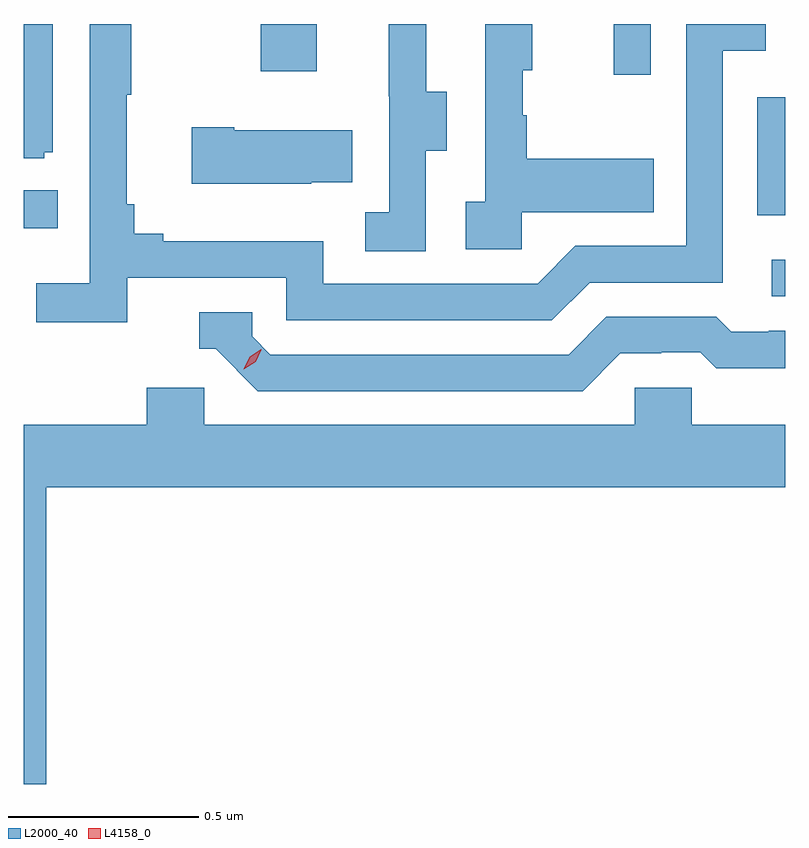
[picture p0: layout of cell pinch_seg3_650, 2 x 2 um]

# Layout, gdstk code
import gdstk
lib = gdstk.Library(unit=1e-6, precision=1e-09)
def R(c, l, rs):  # rectangles x0, y0, x1, y1
    for r in rs: c.add(gdstk.rectangle(r[:2], r[2:], *l))
def P(c, l, *ps):  # polygons
    for p in ps: c.add(gdstk.Polygon(p, *l))
L2000_40 = (2000, 40)
L4158_0 = (4158, 0)

pinch_seg3_650 = lib.new_cell('pinch_seg3_650')
R(pinch_seg3_650, L2000_40, [(1021.425,677.442,1021.46,677.538), (1019.46,677.621,1019.549,677.72), (1021.386,677.655,1021.46,677.964), (1021.01,678.024,1021.107,678.157), (1020.082,678.033,1020.229,678.157)])
P(pinch_seg3_650, L2000_40, [(1019.732,677.49),(1020.15,677.49),(1020.15,677.379),(1020.847,677.379),(1020.946,677.478),(1021.296,677.478),(1021.296,678.087),(1021.409,678.087),(1021.409,678.157),(1021.2,678.157),(1021.2,677.574),(1020.909,677.574),(1020.81,677.475),(1020.246,677.475),(1020.246,677.587),(1019.827,677.587),(1019.827,677.606),(1019.75,677.606),(1019.75,677.683),(1019.731,677.683),(1019.731,677.971),(1019.743,677.971),(1019.743,678.157),(1019.634,678.157),(1019.634,677.476),(1019.493,677.476),(1019.493,677.374),(1019.732,677.374)],
  [(1020.516,677.824),(1020.571,677.824),(1020.571,677.979),(1020.517,677.979),(1020.517,678.157),(1020.419,678.157),(1020.419,677.967),(1020.42,677.967),(1020.42,677.663),(1020.357,677.663),(1020.357,677.56),(1020.516,677.56)],
  [(1020.768,677.663),(1021.115,677.663),(1021.115,677.803),(1020.781,677.803),(1020.781,677.918),(1020.771,677.918),(1020.771,678.036),(1020.796,678.036),(1020.796,678.157),(1020.672,678.157),(1020.672,677.69),(1020.621,677.69),(1020.621,677.565),(1020.768,677.565)],
  [(1019.514,677.82),(1019.536,677.82),(1019.536,678.157),(1019.46,678.157),(1019.46,677.805),(1019.514,677.805)],
  [(1020.215,677.741),(1020.323,677.741),(1020.323,677.878),(1020.013,677.878),(1020.013,677.886),(1019.901,677.886),(1019.901,677.738),(1020.215,677.738)],
  [(1021.027,677.292),(1021.134,677.292),(1021.134,677.295),(1021.237,677.295),(1021.279,677.253),(1021.46,677.253),(1021.46,677.352),(1021.417,677.352),(1021.417,677.349),(1021.318,677.349),(1021.279,677.388),(1020.99,677.388),(1020.891,677.289),(1020.108,677.289),(1020.06,677.337),(1020.06,677.4),(1019.921,677.4),(1019.921,677.304),(1019.964,677.304),(1020.075,677.193),(1020.928,677.193)],
  [(1019.519,676.94),(1021.46,676.94),(1021.46,677.104),(1021.215,677.104),(1021.215,677.202),(1021.065,677.202),(1021.065,677.104),(1019.934,677.104),(1019.934,677.202),(1019.783,677.202),(1019.783,677.104),(1019.46,677.104),(1019.46,676.161),(1019.519,676.161)])
P(pinch_seg3_650, L4158_0, [(1020.038,677.25),(1020.038,677.25),(1020.054,677.283),(1020.084,677.303),(1020.084,677.303),(1020.084,677.302),(1020.069,677.27),(1020.038,677.25)])

lib.write_gds('pinch_seg3_650.gds')
